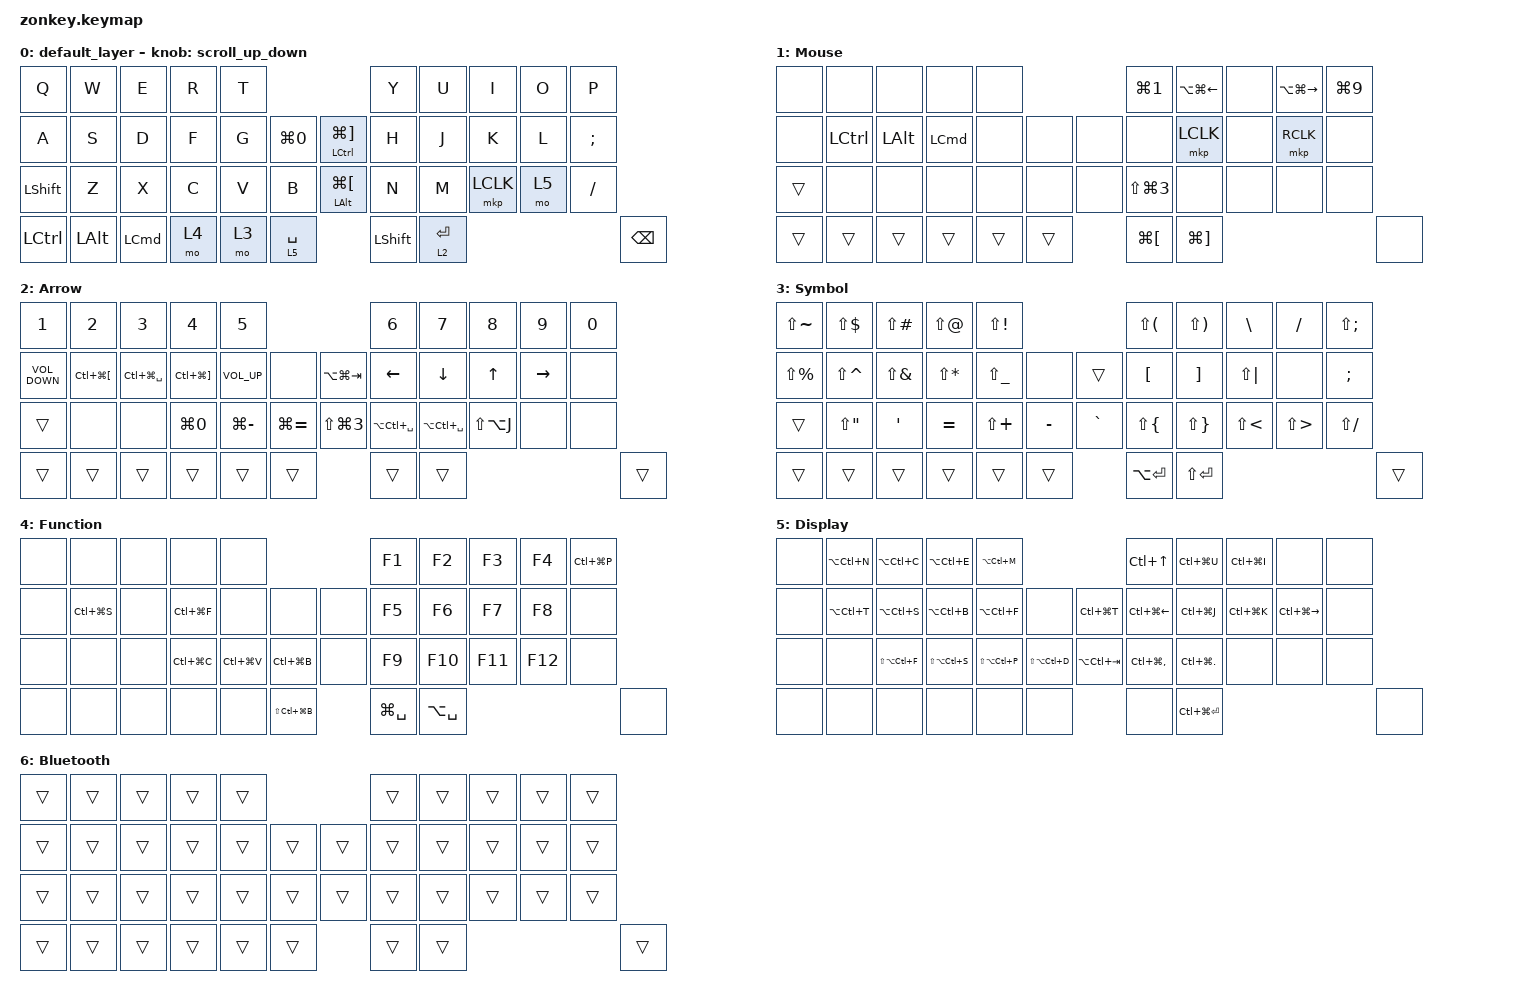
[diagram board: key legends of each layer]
#include <physical_layouts.dtsi>
#include <behaviors.dtsi>
#include <dt-bindings/zmk/keys.h>
#include <dt-bindings/zmk/pointing.h>

#define ZMK_POINTING_DEFAULT_SCRL_VAL 100
#define DFb 0
#define JIS 1
#define BT 4
#define MOUSE 6
#define JP_DQUOTE       AT                // "
#define JP_AMPERSAND    CARET             // &
#define JP_QUOTE        AMPERSAND         // '
#define JP_EQUAL        UNDER             // =
#define JP_CARET        EQUAL             // ^
#define JP_YEN          0x89              // ¥
#define JP_PLUS         COLON             // +
#define JP_TILDE        PLUS              // ~
#define JP_PIPE         LS(0x89)          // |
#define JP_AT           LEFT_BRACKET      // @
#define JP_COLON        SINGLE_QUOTE      // :
#define JP_ASTERISK     DOUBLE_QUOTES     // *
#define JP_BACKQUOTE    LEFT_BRACE        // `
#define JP_UNDERSCORE   LS(0x87)          // _
#define JP_LBRACKET     RIGHT_BRACKET     // [
#define JP_RBRACKET     BACKSLASH         // ]
#define JP_LPAREN       ASTERISK          // (
#define JP_RPAREN       LEFT_PARENTHESIS  // )
#define JP_LBRACE       RIGHT_BRACE       // {
#define JP_RBRACE       PIPE              // }
#define JP_KANA         LANGUAGE_1        // かな
#define JP_EISU         LANGUAGE_2        // 英数
#define JP_HANZEN       GRAVE             // 半角/全角
#define JP_BSLH  INT1         // (backslash)

&mt {
    flavor = "balanced";
    quick-tap-ms = <0>;
};

/ {
    combos {
        compatible = "zmk,combos";

        tab {
            bindings = <&kp TAB>;
            key-positions = <12 13>;
        };

        esc {
            bindings = <&kp ESC>;
            key-positions = <0 1>;
        };

        ime {
            bindings = <&kp LC(SPACE)>;
            key-positions = <18 19>;
        };

        comma {
            bindings = <&kp COMMA>;
            key-positions = <30 31>;
        };

        period {
            bindings = <&kp PERIOD>;
            key-positions = <31 32>;
        };

        question {
            bindings = <&kp LS(SLASH)>;
            key-positions = <33 32>;
        };
    };

    macros {
        to_layer_0: to_layer_0 {
            compatible = "zmk,behavior-macro-one-param";
            #binding-cells = <1>;
            bindings = <&to 1 &macro_param_1to1 &kp MACRO_PLACEHOLDER>;
            label = "TO_LAYER_0";
        };
    };

    behaviors {
        lt_to_layer_0: lt_to_layer_0 {
            compatible = "zmk,behavior-hold-tap";
            label = "LAYER_TAP_TO_0";
            bindings = <&mo>, <&to_layer_0>;

            #binding-cells = <2>;
            tapping-term-ms = <200>;
        };

        mo2: mo2 {
            compatible = "zmk,behavior-mod-morph";
            #binding-cells = <0>;
            bindings = <&kp N2>, <&kp AT>;

            mods = <(MOD_LSFT|MOD_RSFT)>;
        };

        mo6: mo6 {
            compatible = "zmk,behavior-mod-morph";
            #binding-cells = <0>;
            bindings = <&kp N6>, <&kp CARET>;

            mods = <(MOD_LSFT|MOD_RSFT)>;
        };

        mo7: mo7 {
            compatible = "zmk,behavior-mod-morph";
            #binding-cells = <0>;
            bindings = <&kp N7>, <&kp AMPS>;

            mods = <(MOD_LSFT|MOD_RSFT)>;
        };

        mo8: mo8 {
            compatible = "zmk,behavior-mod-morph";
            #binding-cells = <0>;
            bindings = <&kp N8>, <&kp ASTRK>;

            mods = <(MOD_LSFT|MOD_RSFT)>;
        };

        mo9: mo9 {
            compatible = "zmk,behavior-mod-morph";
            #binding-cells = <0>;
            bindings = <&kp N9>, <&kp LPAR>;

            mods = <(MOD_LSFT|MOD_RSFT)>;
        };

        mo0: mo0 {
            compatible = "zmk,behavior-mod-morph";
            #binding-cells = <0>;
            bindings = <&kp N0>, <&kp LS(N9)>;

            mods = <(MOD_LSFT|MOD_RSFT)>;
        };

        moA: moA {
            compatible = "zmk,behavior-mod-morph";
            #binding-cells = <0>;
            bindings = <&kp MINUS>, <&kp UNDERSCORE>;

            mods = <(MOD_LSFT|MOD_RSFT)>;
        };

        moB: moB {
            compatible = "zmk,behavior-mod-morph";
            #binding-cells = <0>;
            bindings = <&kp EQUAL>, <&kp PLUS>;

            mods = <(MOD_LSFT|MOD_RSFT)>;
        };

        moC: moC {
            compatible = "zmk,behavior-mod-morph";
            #binding-cells = <0>;
            bindings = <&kp INT3>, <&kp JP_PIPE>;

            mods = <(MOD_LSFT|MOD_RSFT)>;
        };

        moD: moD {
            compatible = "zmk,behavior-mod-morph";
            #binding-cells = <0>;
            bindings = <&kp LBKT>, <&kp LBRC>;

            mods = <(MOD_LSFT|MOD_RSFT)>;
        };

        moE: moE {
            compatible = "zmk,behavior-mod-morph";
            #binding-cells = <0>;
            bindings = <&kp RBKT>, <&kp RBRC>;

            mods = <(MOD_LSFT|MOD_RSFT)>;
        };

        moF: moF {
            compatible = "zmk,behavior-mod-morph";
            #binding-cells = <0>;
            bindings = <&kp SEMI>, <&kp KP_PLUS>;

            mods = <(MOD_LSFT|MOD_RSFT)>;
        };

        moG: moG {
            compatible = "zmk,behavior-mod-morph";
            #binding-cells = <0>;
            bindings = <&kp APOSTROPHE>, <&kp DQT>;

            mods = <(MOD_LSFT|MOD_RSFT)>;
        };

        moH: moH {
            compatible = "zmk,behavior-mod-morph";
            #binding-cells = <0>;
            bindings = <&kp BACKSLASH>, <&kp TILDE2>;

            mods = <(MOD_LSFT|MOD_RSFT)>;
        };

        moI: moI {
            compatible = "zmk,behavior-mod-morph";
            #binding-cells = <0>;
            bindings = <&kp JP_BSLH>, <&kp JP_UNDERSCORE>;

            mods = <(MOD_LSFT|MOD_RSFT)>;
        };

        scroll_up_down: behavior_sensor_rotate_mouse_wheel_up_down {
            compatible = "zmk,behavior-sensor-rotate";
            #sensor-binding-cells = <0>;
            bindings = <&msc SCRL_UP>, <&msc SCRL_DOWN>;

            tap-ms = <20>;
        };
    };

    keymap {
        compatible = "zmk,keymap";

        default_layer {
            bindings = <
&kp Q           &kp W         &kp E     &kp R  &kp T                                                     &kp Y           &kp U        &kp I      &kp O  &kp P
&kp A           &kp S         &kp D     &kp F  &kp G  &kp LG(NUMBER_0)    &mt LCTRL LG(RIGHT_BRACKET)    &kp H           &kp J        &kp K      &kp L  &kp SEMICOLON
&kp LEFT_SHIFT  &kp Z         &kp X     &kp C  &kp V  &kp B               &mt LEFT_ALT LG(LEFT_BRACKET)  &kp N           &kp M        &mkp LCLK  &mo 5  &kp SLASH
&kp LCTRL       &kp LEFT_ALT  &kp LCMD  &mo 4  &mo 3  &lt 5 SPACE                                        &kp LEFT_SHIFT  &lt 2 ENTER                                   &kp BACKSPACE
            >;

            sensor-bindings = <&scroll_up_down>;
        };

        Mouse {
            bindings = <
&none   &none      &none         &none     &none                    &kp LG(NUMBER_1)      &kp LA(LG(LEFT_ARROW))  &none  &kp LA(LG(RIGHT_ARROW))  &kp LG(NUMBER_9)
&none   &kp LCTRL  &kp LEFT_ALT  &kp LCMD  &none   &none     &none  &none                 &mkp LCLK               &none  &mkp RCLK                &none
&trans  &none      &none         &none     &none   &none     &none  &kp LS(LG(NUMBER_3))  &none                   &none  &none                    &none
&trans  &trans     &trans        &trans    &trans  &trans           &kp LG(LEFT_BRACKET)  &kp LG(RIGHT_BRACKET)                                                     &none
            >;
        };

        Arrow {
            bindings = <
&kp NUMBER_1       &kp NUMBER_2              &kp NUMBER_3       &kp NUMBER_4               &kp NUMBER_5                                            &kp NUMBER_6       &kp NUMBER_7       &kp NUMBER_8   &kp NUMBER_9     &kp NUMBER_0
&kp C_VOLUME_DOWN  &kp LC(LG(LEFT_BRACKET))  &kp LC(LG(SPACE))  &kp LC(LG(RIGHT_BRACKET))  &kp C_VOLUME_UP  &none            &kp LA(LG(TAB))       &kp LEFT_ARROW     &kp DOWN_ARROW     &kp UP_ARROW   &kp RIGHT_ARROW  &none
&trans             &none                     &none              &kp LG(NUMBER_0)           &kp LG(MINUS)    &kp LG(EQUAL)    &kp LS(LG(NUMBER_3))  &kp LA(LC(SPACE))  &kp LA(LC(SPACE))  &kp LS(LA(J))  &none            &none
&trans             &trans                    &trans             &trans                     &trans           &trans                                 &trans             &trans                                                           &trans
            >;
        };

        Symbol {
            bindings = <
&kp LS(TILDE)  &kp LS(DLLR)   &kp LS(POUND)  &kp LS(AT)    &kp LS(EXCL)                           &kp LS(LPAR)  &kp LS(RPAR)  &kp BSLH      &kp SLASH   &kp LS(SEMICOLON)
&kp LS(PRCNT)  &kp LS(CARET)  &kp LS(AMPS)   &kp LS(STAR)  &kp LS(UNDER)  &none        &trans     &kp LBKT      &kp RBKT      &kp LS(PIPE)  &none       &kp SEMICOLON
&trans         &kp LS(DQT)    &kp SQT        &kp EQUAL     &kp LS(PLUS)   &kp MINUS    &kp GRAVE  &kp LS(LBRC)  &kp LS(RBRC)  &kp LS(LT)    &kp LS(GT)  &kp LS(SLASH)
&trans         &trans         &trans         &trans        &trans         &trans                  &kp LA(RET)   &kp LS(RET)                                                &trans
            >;
        };

        Function {
            bindings = <
&none  &none          &none  &none          &none                                      &kp F1         &kp F2         &kp F3   &kp F4   &kp LC(LG(P))
&none  &kp LC(LG(S))  &none  &kp LC(LG(F))  &none          &none                &none  &kp F5         &kp F6         &kp F7   &kp F8   &none
&none  &none          &none  &kp LC(LG(C))  &kp LC(LG(V))  &kp LC(LG(B))        &none  &kp F9         &kp F10        &kp F11  &kp F12  &none
&none  &none          &none  &none          &none          &kp LS(LC(LG(B)))           &kp LG(SPACE)  &kp LA(SPACE)                                   &none
            >;
        };

        Display {
            bindings = <
&none  &kp LA(LC(N))  &kp LA(LC(C))      &kp LA(LC(E))      &kp LA(LC(M))                                            &kp LC(UP_ARROW)        &kp LC(LG(U))       &kp LC(LG(I))  &none                    &none
&none  &kp LA(LC(T))  &kp LA(LC(S))      &kp LA(LC(B))      &kp LA(LC(F))      &none                &kp LC(LG(T))    &kp LC(LG(LEFT_ARROW))  &kp LC(LG(J))       &kp LC(LG(K))  &kp LC(LG(RIGHT_ARROW))  &none
&none  &none          &kp LS(LA(LC(F)))  &kp LS(LA(LC(S)))  &kp LS(LA(LC(P)))  &kp LS(LA(LC(D)))    &kp LA(LC(TAB))  &kp LC(LG(COMMA))       &kp LC(LG(PERIOD))  &none          &none                    &none
&none  &none          &none              &none              &none              &none                                 &none                   &kp LC(LG(ENTER))                                                  &none
            >;
        };

        Bluetooth {
            bindings = <
&trans  &trans  &trans  &trans  &trans                    &trans  &trans  &trans  &trans  &trans
&trans  &trans  &trans  &trans  &trans  &trans    &trans  &trans  &trans  &trans  &trans  &trans
&trans  &trans  &trans  &trans  &trans  &trans    &trans  &trans  &trans  &trans  &trans  &trans
&trans  &trans  &trans  &trans  &trans  &trans            &trans  &trans                          &trans
            >;
        };
    };
};
